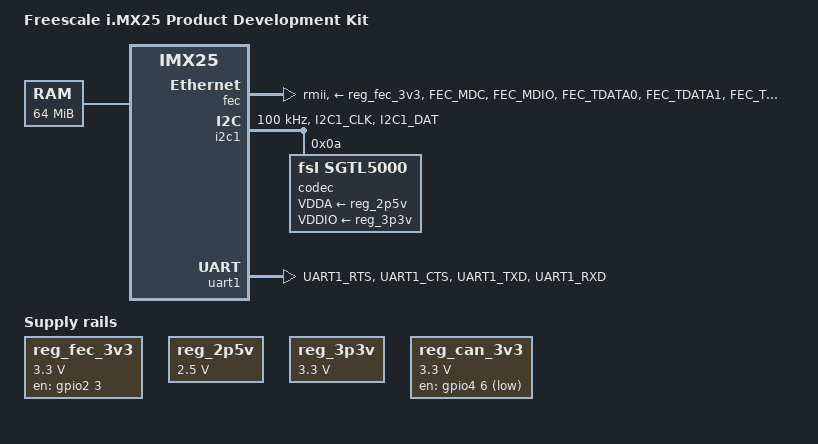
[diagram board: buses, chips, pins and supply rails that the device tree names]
/*
 * Copyright (C) 2015 Jean-Christophe Dubois.
 * All rights reserved.
 *
 * This program is free software; you can redistribute it and/or modify
 * it under the terms of the GNU General Public License as published by
 * the Free Software Foundation; either version 2, or (at your option)
 * any later version.
 *
 * This program is distributed in the hope that it will be useful,
 * but WITHOUT ANY WARRANTY; without even the implied warranty of
 * MERCHANTABILITY or FITNESS FOR A PARTICULAR PURPOSE.  See the
 * GNU General Public License for more details.
 *
 * You should have received a copy of the GNU General Public License
 * along with this program; if not, write to the Free Software
 * Foundation, Inc., 675 Mass Ave, Cambridge, MA 02139, USA.
 *
 * @file 3dstack.dtsi
 * @author Jean-Christophe Dubois (jcd@tribudubois.net)
 * @brief i.MX25 PDK DTS file
 */

#include "../imx25-pinfunc.h"
#include "../imx25.dtsi"

/ {
	model = "Freescale i.MX25 Product Development Kit";
	compatible = "fsl,imx25-pdk", "fsl,imx25";

	chosen {
		console = &uart1;
	};

	memory { 
		/* NOTE: By default QEMU will only proivde 128 MB
		 * unless specified by "-m" option. If you have
		 * X MB then we will be able to access only first
		 * X MB starting at physical_addr.
		 * Note: the 3Dstack board only has 64 MB DDR.
		 */
		device_type = "memory"; 
		reg = <0x80000000 0x04000000>; /* 64 MB */
	};

	regulators {
		compatible = "simple-bus";
		#address-cells = <1>;
		#size-cells = <0>;

		reg_fec_3v3: regulator@0 {
			compatible = "regulator-fixed";
			reg = <0>;
			regulator-name = "fec-3v3";
			regulator-min-microvolt = <3300000>;
			regulator-max-microvolt = <3300000>;
			gpio = <&gpio2 3 0>;
			enable-active-high;
		};

		reg_2p5v: regulator@1 {
			compatible = "regulator-fixed";
			reg = <1>;
			regulator-name = "2P5V";
			regulator-min-microvolt = <2500000>;
			regulator-max-microvolt = <2500000>;
		};

		reg_3p3v: regulator@2 {
			compatible = "regulator-fixed";
			reg = <2>;
			regulator-name = "3P3V";
			regulator-min-microvolt = <3300000>;
			regulator-max-microvolt = <3300000>;
		};

		reg_can_3v3: regulator@3 {
			compatible = "regulator-fixed";
			reg = <3>;
			regulator-name = "can-3v3";
			regulator-min-microvolt = <3300000>;
			regulator-max-microvolt = <3300000>;
			gpio = <&gpio4 6 0>;
		};
	};
};

&fec {
	phy-mode = "rmii";
	pinctrl-names = "default";
	pinctrl-0 = <&pinctrl_fec>;
	phy-supply = <&reg_fec_3v3>;
	phy-reset-gpios = <&gpio4 8 0>;
	status = "okay";
};

&i2c1 {
	clock-frequency = <100000>;
	pinctrl-names = "default";
	pinctrl-0 = <&pinctrl_i2c1>;
	status = "okay";

	codec: sgtl5000@0a {
		compatible = "fsl,sgtl5000";
		reg = <0x0a>;
		clocks = <&clks 129>;
		VDDA-supply = <&reg_2p5v>;
		VDDIO-supply = <&reg_3p3v>;
	};
};

&iomuxc {
	imx25-pdk {
		pinctrl_fec: fecgrp {
			fsl,pins = <
				MX25_PAD_FEC_MDC__FEC_MDC	0x80000000
				MX25_PAD_FEC_MDIO__FEC_MDIO	0x400001e0
				MX25_PAD_FEC_TDATA0__FEC_TDATA0	0x80000000
				MX25_PAD_FEC_TDATA1__FEC_TDATA1	0x80000000
				MX25_PAD_FEC_TX_EN__FEC_TX_EN	0x80000000
				MX25_PAD_FEC_RDATA0__FEC_RDATA0	0x80000000
				MX25_PAD_FEC_RDATA1__FEC_RDATA1	0x80000000
				MX25_PAD_FEC_RX_DV__FEC_RX_DV	0x80000000
				MX25_PAD_FEC_TX_CLK__FEC_TX_CLK	0x1c0
				MX25_PAD_A17__GPIO_2_3		0x80000000
				MX25_PAD_D12__GPIO_4_8		0x80000000
			>;
		};

		pinctrl_i2c1: i2c1grp {
			fsl,pins = <
				MX25_PAD_I2C1_CLK__I2C1_CLK	0x80000000
				MX25_PAD_I2C1_DAT__I2C1_DAT	0x80000000
			>;
		};

		pinctrl_uart1: uart1grp {
			fsl,pins = <
				MX25_PAD_UART1_RTS__UART1_RTS	0xe0
				MX25_PAD_UART1_CTS__UART1_CTS	0xe0
				MX25_PAD_UART1_TXD__UART1_TXD	0x80000000
				MX25_PAD_UART1_RXD__UART1_RXD	0xc0
			>;
		};
	};
};

&uart1 {
	pinctrl-names = "default";
	pinctrl-0 = <&pinctrl_uart1>;
	fsl,uart-has-rtscts;
	status = "okay";
};
